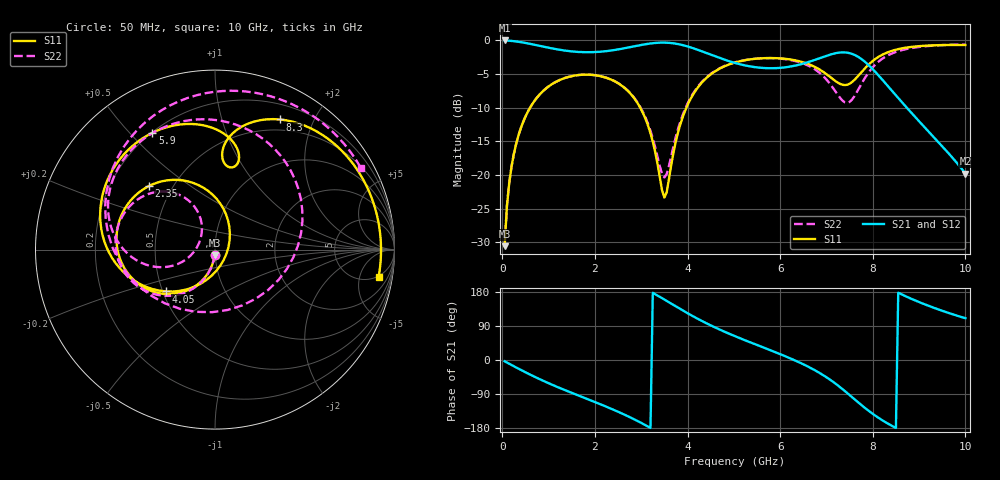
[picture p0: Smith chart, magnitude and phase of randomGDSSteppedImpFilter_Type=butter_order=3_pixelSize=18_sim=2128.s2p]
! freq	dB(S11)	phase(S11)	dB(S12)	phase(S12)
!  dB(S21)	phase(S21)	dB(S22)	phase(S22)
!S-par simulation data
#  GHz  S  DB  R 50
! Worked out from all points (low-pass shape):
!   200 points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, 50 MHz to 10 GHz, reference 50 ohm
!   highest |S21| = -0.01 dB at 50 MHz (marker M1); lowest = -19.8 dB at 10 GHz (marker M2)
!   |S21| within 3 dB of the highest: start of sweep to 4.86 GHz; 6.7 GHz to 7.801 GHz (1.1 GHz wide, 15.2 % of centre)
!   lowest |S11| = -30.6 dB at 50 MHz (marker M3), VSWR 1.06, Z = 49.7 - j2.94 ohm
!   |S11| at or under -10 dB: start of sweep to 599.8 MHz; 2.978 GHz to 3.976 GHz (997.7 MHz wide, 28.7 % of centre)
!   |S22| runs from -30.6 to -0.6 dB; largest |S21 - S12| = 0
!   S11 on the Smith chart (normalised r, x): 50 MHz: 0.99, -0.06; 2.35 GHz: 0.37, +0.35; 4.05 GHz: 0.52, -0.28; 5.9 GHz: 0.20, +0.58; 8.3 GHz: 0.37, +1.55; 10 GHz: 5, -10
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0.05  -30.57 -93.5  -0.01 -3.4  -0.01 -3.4  -30.57 -93.4
0.2  -18.72 -103.9  -0.08 -13.3  -0.08 -13.3  -18.72 -103.4
0.5  -11.33 -123.6  -0.38 -32.4  -0.38 -32.4  -11.32 -122.2
1.05  -6.60 -155.9  -1.16 -63.9  -1.16 -63.9  -6.60 -152.9
1.75  -5.09 167.8  -1.75 -98.9  -1.75 -98.9  -5.09 173.8
2.35  -5.83 136.2  -1.50 -128.6  -1.50 -128.6  -5.81 146.7
3  -10.27 92.5  -0.68 -166.0  -0.68 -166.0  -10.15 118.3
3.4  -20.28 32.8  -0.34 166.7  -0.34 166.7  -18.66 129.6
3.55  -22.56 -48.2  -0.34 155.9  -0.34 155.9  -19.86 173.1
3.8  -13.54 -113.7  -0.56 137.7  -0.56 137.7  -13.03 -158.8
4.05  -8.91 -139.5  -1.00 120.1  -1.00 120.1  -8.71 -165.4
4.55  -4.80 -175.4  -2.25 88.5  -2.25 88.5  -4.73 169.8
5.05  -3.24 156.9  -3.40 61.6  -3.40 61.6  -3.21 145.1
5.9  -2.63 118.2  -4.12 20.4  -4.12 20.4  -2.66 103.6
6.7  -3.78 85.5  -3.01 -23.7  -3.01 -23.7  -4.09 50.8
7.15  -5.81 75.1  -1.98 -58.2  -1.98 -58.2  -7.15 -5.5
7.55  -6.20 84.3  -2.00 -97.8  -2.00 -97.8  -8.81 -107.1
7.9  -3.67 81.3  -3.61 -133.1  -3.61 -133.1  -4.87 178.9
8.3  -1.83 63.6  -6.58 -166.0  -6.58 -166.0  -2.32 131.6
8.35  -1.70 61.2  -6.97 -169.5  -6.97 -169.5  -2.14 127.0
9.05  -0.83 29.1  -12.39 150.4  -12.39 150.4  -0.93 78.5
10  -0.68 -9.5  -19.79 110.3  -19.79 110.3  -0.62 29.4
